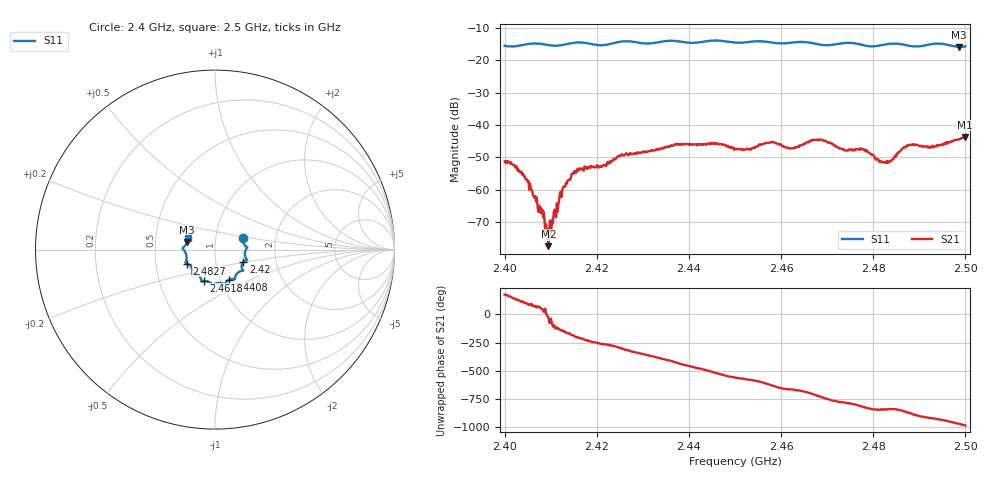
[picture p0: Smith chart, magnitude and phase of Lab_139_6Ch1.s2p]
# Hz S RI R 50
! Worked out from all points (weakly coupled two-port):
!   601 points, 2.4 GHz to 2.5 GHz, reference 50 ohm
!   highest |S21| = -43.68 dB at 2.4998 GHz (marker M1); lowest = -77.4 dB at 2.4095 GHz (marker M2)
!   lowest |S11| = -15.9 dB at 2.4987 GHz (marker M3), VSWR 1.38, Z = 36.5 + j3.2 ohm
!   |S11| at or under -10 dB: start of sweep to end of sweep
!   S12 and S22 are empty: the file has one direction only
!   S11 on the Smith chart (normalised r, x): 2.4 GHz: 1.35, +0.17; 2.42 GHz: 1.36, -0.19; 2.4408 GHz: 1.10, -0.38; 2.4618 GHz: 0.84, -0.30; 2.4827 GHz: 0.72, -0.12; 2.5 GHz: 0.73, +0.09
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2.4e9  0.1551 0.0618  -0.00273 0.000236  0 0  0 0
2.404667e9  0.1753 0.0152  -0.000224 0.00142  0 0  0 0
2.4095e9  0.1715 -0.00138  0.000124 -5.44e-05  0 0  0 0
2.41e9  0.1694 -0.00619  0.000165 -0.000126  0 0  0 0
2.4125e9  0.1679 -0.0362  -0.000806 -0.000552  0 0  0 0
2.414833e9  0.1772 -0.0555  -0.0018 0.000127  0 0  0 0
2.416667e9  0.1785 -0.0588  -0.00173 0.00111  0 0  0 0
2.42e9  0.1572 -0.0693  -0.000769 0.00227  0 0  0 0
2.425167e9  0.1556 -0.1145  0.00157 0.00295  0 0  0 0
2.433333e9  0.112 -0.1528  0.00392 -0.00182  0 0  0 0
2.440833e9  0.078 -0.1684  -0.00132 -0.00481  0 0  0 0
2.45e9  0.0271 -0.1853  -0.00405 0.00145  0 0  0 0
2.458e9  -0.0236 -0.1863  -0.000116 0.00552  0 0  0 0
2.461833e9  -0.0608 -0.1752  0.00241 0.0037  0 0  0 0
2.466667e9  -0.0765 -0.1682  0.00543 0.00165  0 0  0 0
2.477667e9  -0.1251 -0.1181  -0.000474 -0.00428  0 0  0 0
2.482667e9  -0.1575 -0.0775  -0.00133 -0.00225  0 0  0 0
2.483333e9  -0.1616 -0.0764  -0.00132 -0.00239  0 0  0 0
2.487667e9  -0.1592 -0.0536  -0.00436 -0.00232  0 0  0 0
2.498667e9  -0.1549 0.0428  -0.00202 0.00568  0 0  0 0
2.499833e9  -0.1514 0.0601  -0.000731 0.00651  0 0  0 0
2.5e9  -0.1514 0.0626  -0.000634 0.0062  0 0  0 0
